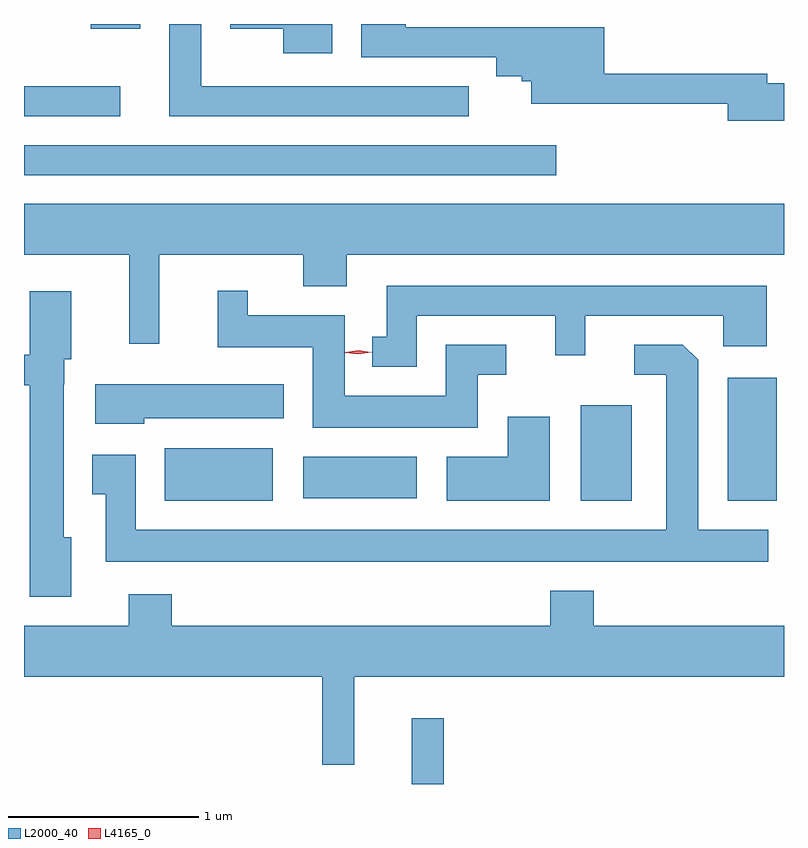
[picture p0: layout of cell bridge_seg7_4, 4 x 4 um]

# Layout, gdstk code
import gdstk
lib = gdstk.Library(unit=1e-6, precision=1e-09)
def R(c, l, rs):  # rectangles x0, y0, x1, y1
    for r in rs: c.add(gdstk.rectangle(r[:2], r[2:], *l))
def P(c, l, *ps):  # polygons
    for p in ps: c.add(gdstk.Polygon(p, *l))
L2000_40 = (2000, 40)
L4165_0 = (4165, 0)

bridge_seg7_4 = lib.new_cell('bridge_seg7_4')
R(bridge_seg7_4, L2000_40, [(1668.811,1755.931,1668.979,1756.278), (1667.511,1757.421,1668.079,1757.699), (1669.701,1757.421,1669.969,1757.924), (1670.476,1757.421,1670.734,1758.069), (1668.241,1757.436,1668.839,1757.654), (1666.771,1759.136,1669.573,1759.294), (1666.771,1759.446,1667.278,1759.604), (1667.121,1759.906,1667.384,1759.931)])
P(bridge_seg7_4, L2000_40, [(1669.113,1759.604),(1667.704,1759.604),(1667.704,1759.931),(1667.536,1759.931),(1667.536,1759.446),(1669.113,1759.446)],
  [(1670.771,1759.619),(1670.684,1759.619),(1670.684,1759.669),(1669.824,1759.669),(1669.824,1759.914),(1668.779,1759.914),(1668.779,1759.931),(1668.546,1759.931),(1668.546,1759.756),(1669.256,1759.756),(1669.256,1759.656),(1669.391,1759.656),(1669.391,1759.631),(1669.441,1759.631),(1669.441,1759.511),(1670.476,1759.511),(1670.476,1759.421),(1670.771,1759.421)],
  [(1668.394,1759.931),(1667.856,1759.931),(1667.856,1759.906),(1668.136,1759.906),(1668.136,1759.776),(1668.394,1759.776)],
  [(1667.484,1758.716),(1668.241,1758.716),(1668.241,1758.551),(1668.469,1758.551),(1668.469,1758.716),(1670.771,1758.716),(1670.771,1758.984),(1666.771,1758.984),(1666.771,1758.716),(1667.326,1758.716),(1667.326,1758.248),(1667.484,1758.248)],
  [(1668.839,1758.396),(1669.566,1758.396),(1669.566,1758.188),(1669.724,1758.188),(1669.724,1758.396),(1670.451,1758.396),(1670.451,1758.236),(1670.679,1758.236),(1670.679,1758.554),(1668.681,1758.554),(1668.681,1758.284),(1668.603,1758.284),(1668.603,1758.126),(1668.839,1758.126)],
  [(1669.159,1758.086),(1669.308,1758.086),(1669.308,1758.244),(1668.991,1758.244),(1668.991,1757.974),(1668.459,1757.974),(1668.459,1758.399),(1667.949,1758.399),(1667.949,1758.528),(1667.791,1758.528),(1667.791,1758.231),(1668.291,1758.231),(1668.291,1757.806),(1669.159,1757.806)],
  [(1667.019,1757.229),(1666.979,1757.229),(1666.979,1758.035),(1666.984,1758.035),(1666.984,1758.166),(1667.019,1758.166),(1667.019,1758.524),(1666.801,1758.524),(1666.801,1758.189),(1666.771,1758.189),(1666.771,1758.031),(1666.801,1758.031),(1666.801,1756.916),(1667.019,1756.916)],
  [(1670.688,1757.269),(1670.319,1757.269),(1670.319,1758.164),(1670.239,1758.244),(1669.983,1758.244),(1669.983,1758.086),(1670.151,1758.086),(1670.151,1757.269),(1667.359,1757.269),(1667.359,1757.664),(1667.131,1757.664),(1667.131,1757.456),(1667.201,1757.456),(1667.201,1757.101),(1670.688,1757.101)],
  [(1667.404,1757.856),(1668.139,1757.856),(1668.139,1758.034),(1667.146,1758.034),(1667.146,1757.826),(1667.404,1757.826)],
  [(1669.539,1757.864),(1669.316,1757.864),(1669.316,1757.654),(1668.996,1757.654),(1668.996,1757.421),(1669.539,1757.421)],
  [(1668.509,1756.496),(1670.771,1756.496),(1670.771,1756.764),(1669.769,1756.764),(1669.769,1756.949),(1669.541,1756.949),(1669.541,1756.764),(1667.549,1756.764),(1667.549,1756.929),(1667.321,1756.929),(1667.321,1756.764),(1666.771,1756.764),(1666.771,1756.496),(1668.341,1756.496),(1668.341,1756.033),(1668.509,1756.033)])
P(bridge_seg7_4, L4165_0, [(1668.531,1758.194),(1668.462,1758.202),(1668.462,1758.203),(1668.462,1758.203),(1668.531,1758.213),(1668.601,1758.204),(1668.601,1758.204),(1668.601,1758.203)])

lib.write_gds('bridge_seg7_4.gds')
